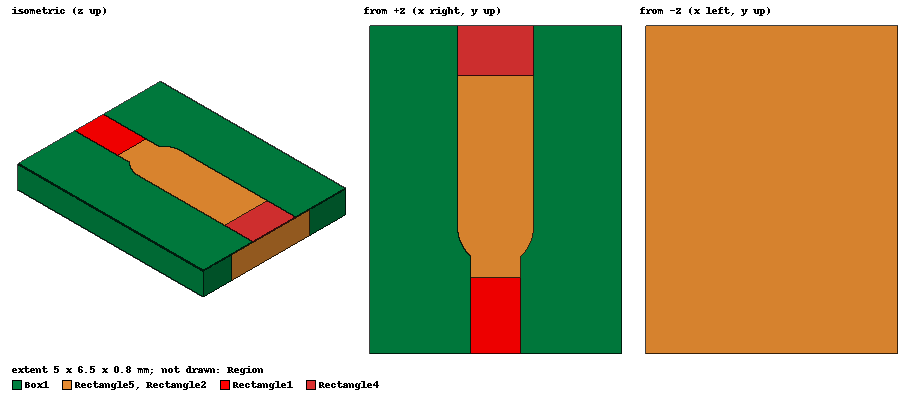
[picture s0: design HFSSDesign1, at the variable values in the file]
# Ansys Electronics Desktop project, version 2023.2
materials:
  vacuum: permittivity=1
  FR4_epoxy: permittivity=4.4 dielectric_loss_tangent=0.02
  air: permittivity=1.0006 permeability=1.0000004

design HFSSDesign1 (HFSS, HFSS Terminal Network, model units mm)
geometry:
  Rectangle1 = rectangle(corner=(0mm, 0mm, 0mm), x_size=1mm, y_size=1.5mm)
  Rectangle2 = rectangle(corner=(0mm, 1.5mm, 0mm), x_size=1mm, y_size=1mm)
  Circle2 = circle(normal=Z, centre=(0.5mm, 2.5mm, 0mm), radius=(1.49944/2) mm)
  Rectangle2.unite(Circle2)
  Rectangle3 = rectangle(corner=(-0.25mm, 2.5mm, 0mm), x_size=1.5mm, y_size=3mm)
  Rectangle4 = rectangle(corner=(-0.25mm, 5.5mm, 0mm), x_size=1.49944mm, y_size=1mm)
  Rectangle2.unite(Rectangle3)
  Box1 [FR4_epoxy] = box(corner=(-2mm, 0mm, 0mm), size=(5mm, 6.5mm, -0.8mm))
  Rectangle5 = rectangle(corner=(-0.75mm, 6.5mm, 0mm), z_size=-0.8mm, x_size=2.75mm)
  Rectangle6 = rectangle(corner=(-0.6mm, 0mm, 0mm), z_size=-0.8mm, x_size=2mm)
  Rectangle7 = rectangle(corner=(-2mm, 0mm, -0.8mm), x_size=5mm, y_size=6.5mm)
  Rectangle5.unite(Rectangle6, Rectangle7)
  Region [air] = region(absolute_offset=5mm on all sides)
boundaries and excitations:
  PerfE1: Perfect E Objects=[Rectangle5, Rectangle2]
  Rad1: Radiation Objects=Region
  1: Lumped Port Objects=Rectangle1 LumpedPortType=Modal Modes{Mode1{IntLine{(0.5, 0, 0) -> (0.5, 1.5, 0)} CharImp=Zpi RenormImp=50ohm}} Impedance=50ohm
  2: Lumped Port Objects=Rectangle4 LumpedPortType=Modal Modes{Mode1{IntLine{(0.49972, 5.5, 0) -> (0.49972, 6.5, 0)} CharImp=Zpi RenormImp=50ohm}} Impedance=50ohm
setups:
  Setup1: HfssDriven Frequency=5GHz MaxDeltaS=0.02 MaximumPasses=20 MinimumPasses=1 MinimumConvergedPasses=1 PercentRefinement=30 BasisOrder=1 PortAccuracy=2 DrivenSolverType="Direct Solver"
    sweep Sweep: 0.2GHz to 7.5GHz, 401 points; Type=Interpolating InterpTolerance=0.5 InterpMaxSolns=250 PassivityErrorTolerance=0.0001
  Setup2: HfssDriven Frequency=0.868GHz MaxDeltaS=0.02 MaximumPasses=20 MinimumPasses=1 MinimumConvergedPasses=1 PercentRefinement=30 BasisOrder=1 PortAccuracy=2 DrivenSolverType="Direct Solver"
    sweep Sweep: 0.234GHz to 1.502GHz, 401 points; Type=Interpolating InterpTolerance=0.5 InterpMaxSolns=250 PassivityErrorTolerance=0.0001
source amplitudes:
  1:1: 1V 0deg
  2:1: 0V 0deg
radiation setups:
  Infinite Sphere1: Infinite Sphere Theta=0deg..360deg step 2deg Phi=-180deg..180deg step 2deg
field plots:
  Mag_E1: E Field in Region on Setup2 : LastAdaptive at Freq=0.868GHz Phase=0deg
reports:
  Z Parameter Plot 1: re(Z(2,1)), im(Z(2,1)) vs Freq on Setup1 : Sweep
